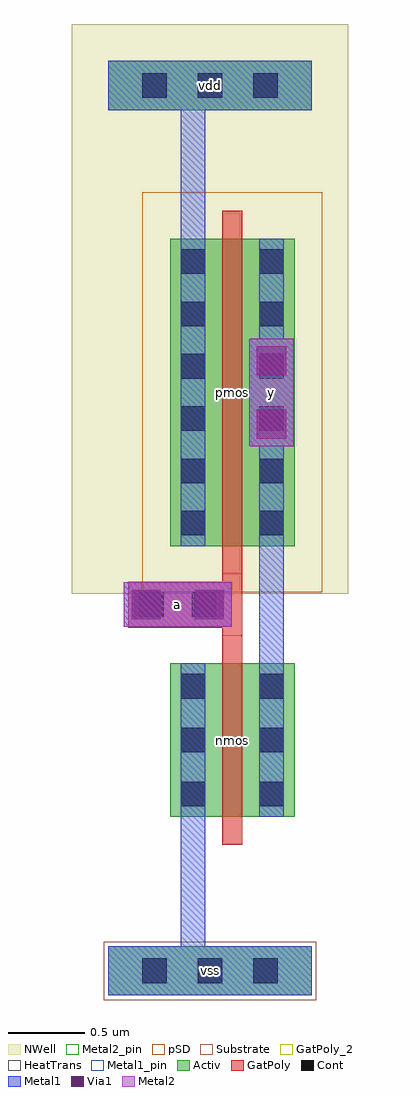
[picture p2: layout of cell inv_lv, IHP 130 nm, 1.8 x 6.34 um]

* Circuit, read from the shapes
.subckt inv_lv a vdd vss y
XM1 y a vss vss sg13_lv_nmos w=1u l=0.13u
XM2 y a vdd vdd sg13_lv_pmos w=2u l=0.13u
.ends

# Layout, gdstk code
import gdstk
lib = gdstk.Library(unit=1e-6, precision=1e-09)
def R(c, l, rs):  # rectangles x0, y0, x1, y1
    for r in rs: c.add(gdstk.rectangle(r[:2], r[2:], *l))
def A(c, l, x, y, w, h, nx, ny, dx, dy):  # array of equal rectangles
    R(c, l, [(x+i*dx, y+j*dy, x+i*dx+w, y+j*dy+h) for i in range(nx) for j in range(ny)])
Activ = (1, 0)
GatPoly = (5, 0)
GatPoly_2 = (5, 2)
Cont = (6, 0)
Metal1 = (8, 0)
Metal1_pin = (8, 2)
Metal2 = (10, 0)
Metal2_pin = (10, 2)
pSD = (14, 0)
Via1 = (19, 0)
NWell = (31, 0)
Substrate = (40, 0)
HeatTrans = (51, 0)

inv_lv = lib.new_cell('inv_lv')
R(inv_lv, Activ, [(0,-0.16,1.32,0.16), (0.4,1,0.7,1.3), (0.4,1,1.21,2), (0.91,1,1.21,1.3), (0.4,2.76,0.7,3.06), (0.4,2.76,1.21,4.76), (0.91,2.76,1.21,3.06), (0,5.595,1.32,5.915)])
R(inv_lv, GatPoly, [(0.74,0.82,0.87,2.18), (0.74,2,0.87,2.76), (0.13,2.23,0.87,2.53), (0.74,2.58,0.87,4.94), (0.74,2.58,0.87,4.94)])
R(inv_lv, GatPoly_2, [(0.74,0.82,0.87,2.18)])
A(inv_lv, Cont, 0.22, -0.08, 0.16, 0.16, 3, 2, 0.36, 5.755)
A(inv_lv, Cont, 0.47, 1.07, 0.16, 0.16, 1, 3, 0, 0.35)
A(inv_lv, Cont, 0.98, 1.07, 0.16, 0.16, 1, 3, 0, 0.35)
A(inv_lv, Cont, 0.47, 2.83, 0.16, 0.16, 1, 6, 0, 0.34)
A(inv_lv, Cont, 0.98, 2.83, 0.16, 0.16, 1, 6, 0, 0.34)
R(inv_lv, Cont, [(0.2,2.3,0.36,2.46), (0.54,2.3,0.7,2.46)])
R(inv_lv, Metal1, [(0,-0.16,1.32,0.16), (0,-0.16,1.32,0.16), (0.47,0,0.63,1), (0.47,1,0.63,2), (0.98,1,1.14,2), (0.98,2,1.14,2.76), (0.1,2.235,0.8,2.525), (0.47,2.76,0.63,4.76), (0.47,2.76,0.63,4.76), (0.98,2.76,1.14,4.76), (0.98,2.76,1.14,4.76), (0.915,3.41,1.205,4.11), (0.47,4.76,0.63,5.755), (0,5.595,1.32,5.915), (0,5.595,1.32,5.915)])
R(inv_lv, Metal1_pin, [(0,-0.16,1.32,0.16), (0.47,1,0.63,2), (0.98,1,1.14,2), (0,5.595,1.32,5.915)])
R(inv_lv, Metal2, [(0.1,2.235,0.8,2.525), (0.1,2.235,0.8,2.525), (0.915,3.41,1.205,4.11), (0.915,3.41,1.205,4.11)])
R(inv_lv, Metal2_pin, [(0.1,2.235,0.8,2.525), (0.915,3.41,1.205,4.11)])
R(inv_lv, pSD, [(-0.03,-0.19,1.35,0.19), (0.22,2.46,1.39,5.06)])
R(inv_lv, Via1, [(0.15,2.285,0.34,2.475), (0.56,2.285,0.75,2.475), (0.965,3.46,1.155,3.65), (0.965,3.87,1.155,4.06)])
R(inv_lv, NWell, [(-0.24,2.45,1.56,6.155), (0.09,2.45,1.52,5.07)])
R(inv_lv, Substrate, [(-0.03,-0.19,1.35,0.19)])
R(inv_lv, HeatTrans, [(0.74,0.82,0.87,2.18), (0.74,2.58,0.87,4.94)])
inv_lv.add(gdstk.Label('nmos', (0.805,1.5), layer=63, texttype=0))
inv_lv.add(gdstk.Label('pmos', (0.805,3.76), layer=63, texttype=0))
inv_lv.add(gdstk.Label('nmos', (0.805,1.5), layer=51, texttype=0))
inv_lv.add(gdstk.Label('pmos', (0.805,3.76), layer=51, texttype=0))
inv_lv.add(gdstk.Label('vss', (0.66,0), layer=8, texttype=25))
inv_lv.add(gdstk.Label('vdd', (0.66,5.755), layer=8, texttype=25))
inv_lv.add(gdstk.Label('a', (0.45,2.38), layer=10, texttype=25))
inv_lv.add(gdstk.Label('y', (1.06,3.76), layer=10, texttype=25))

lib.write_gds('inv_lv.gds')
